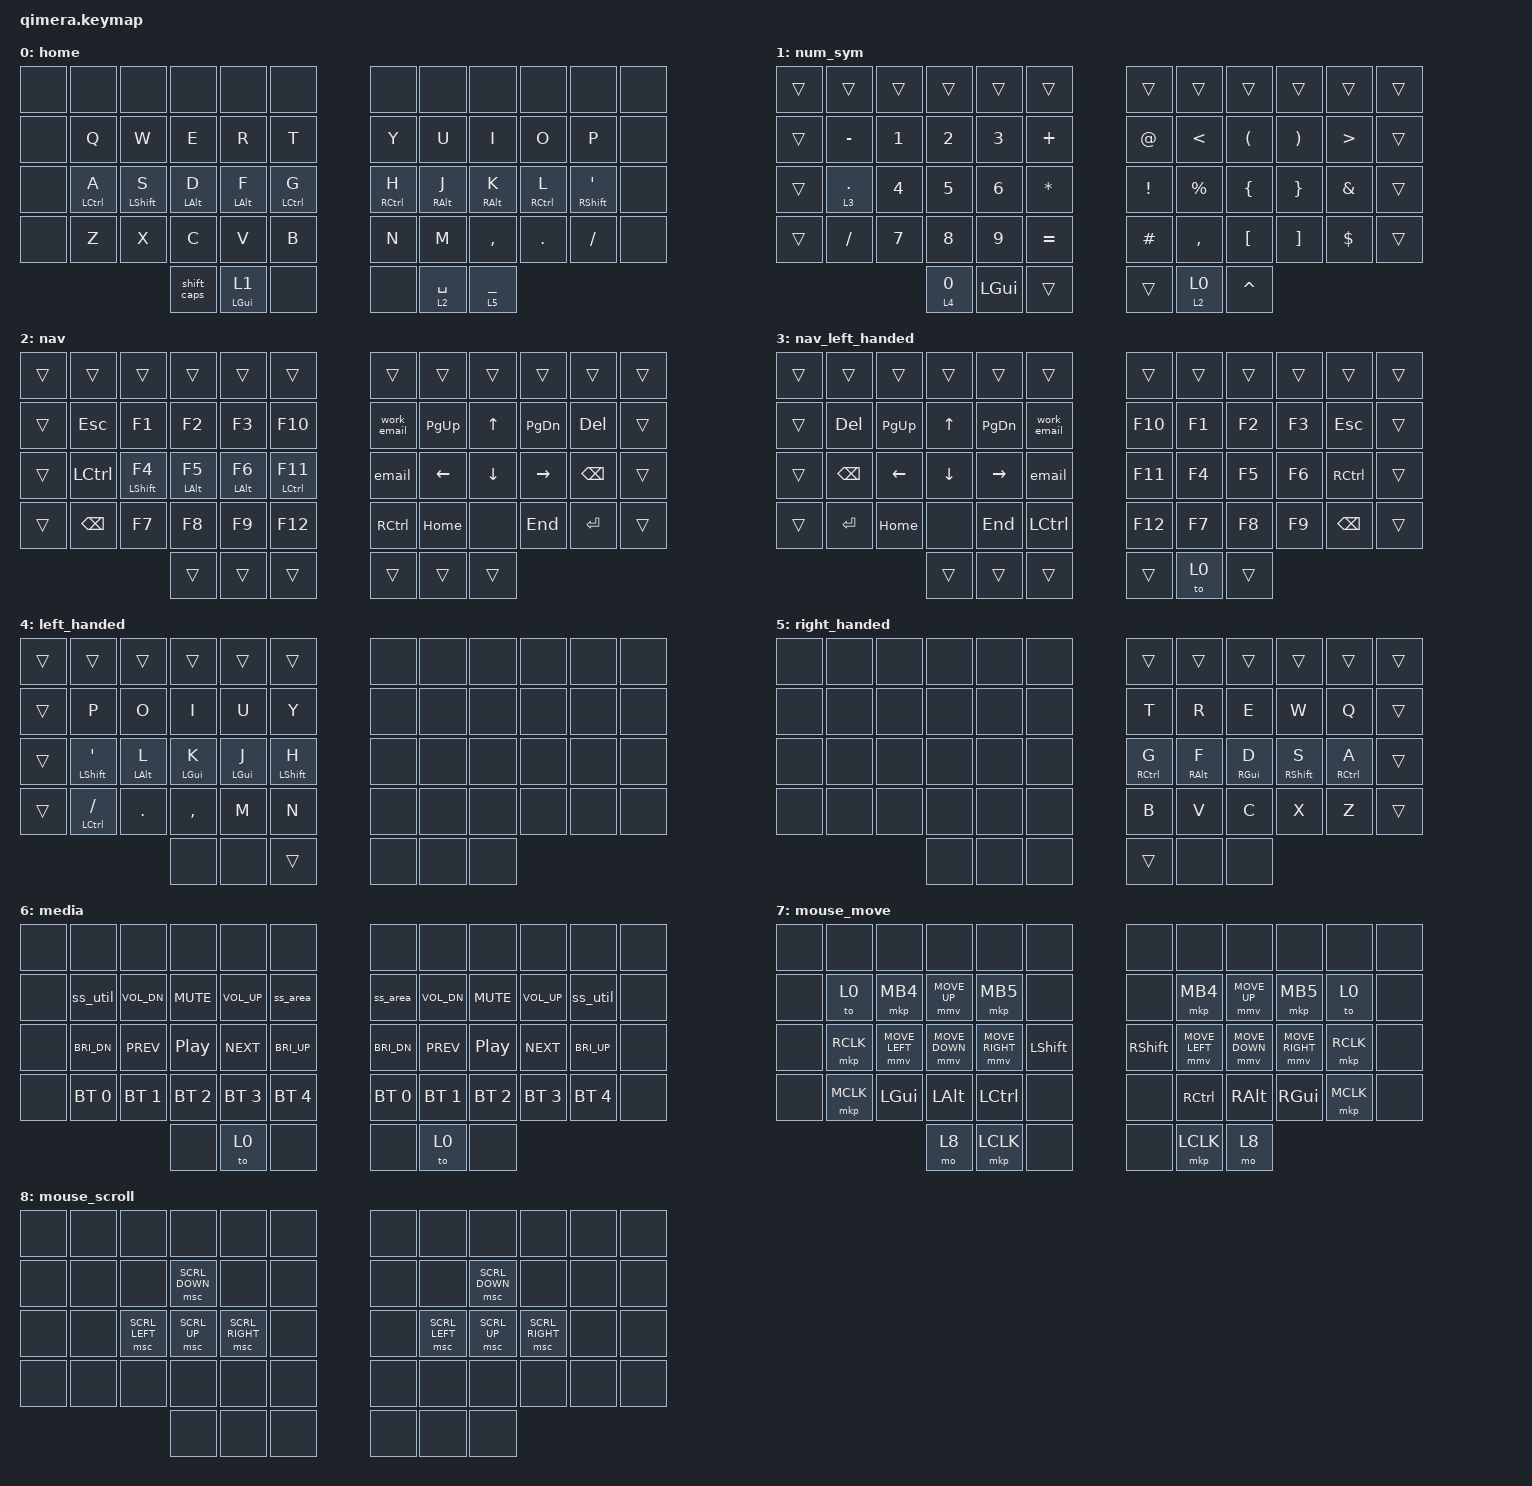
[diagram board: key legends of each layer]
#define ZMK_POINTING_DEFAULT_MOVE_VAL 4000
#define ZMK_POINTING_DEFAULT_SCRL_VAL 20

#include <behaviors.dtsi>
#include <dt-bindings/zmk/bt.h>
#include <dt-bindings/zmk/keys.h>
#include <dt-bindings/zmk/pointing.h>

&mt { flavor = "tap-preferred"; };

/ {
    combos {
        compatible = "zmk,combos";

        lock_screen {
            bindings = <&kp K_POWER>;
            key-positions = <37 22 13 46>;
            timeout-ms = <250>;
            layers = <2>;
        };

        minus {
            bindings = <&kp MINUS>;
            key-positions = <27 28>;
            layers = <0>;
        };

        semi {
            bindings = <&kp SEMI>;
            key-positions = <44 45>;
            layers = <0>;
        };

        semi_left_handed {
            bindings = <&kp SEMI>;
            key-positions = <38 39>;
            layers = <4>;
        };

        grave {
            bindings = <&kp GRAVE>;
            key-positions = <34 31>;
            layers = <0>;
        };

        grave_left_handed {
            bindings = <&kp GRAVE>;
            key-positions = <25 28>;
            layers = <4>;
        };

        bslash {
            bindings = <&kp BSLH>;
            key-positions = <43 46>;
            layers = <0>;
        };

        bslash_left_handed {
            bindings = <&kp BSLH>;
            key-positions = <37 40>;
            layers = <4>;
        };

        del_left_handed {
            bindings = <&kp DEL>;
            key-positions = <14 13>;
            layers = <4>;
        };

        to_zero_left {
            bindings = <&to 0>;
            key-positions = <13 16>;
            layers = <1 6 3>;
        };

        media_layer_right {
            bindings = <&to 6>;
            key-positions = <52 22>;
            layers = <0>;
        };

        bt_clr_combo {
            bindings = <&bt BT_CLR>;
            key-positions = <48 53>;
            layers = <6>;
        };

        minus_right_handed {
            bindings = <&kp MINUS>;
            key-positions = <31 32>;
            layers = <5>;
        };

        esc_right_handed {
            bindings = <&kp ESC>;
            key-positions = <22 21>;
            layers = <5>;
        };

        bspc_left_handed {
            bindings = <&kp BSPC>;
            key-positions = <38 37>;
            layers = <0 1>;
        };

        media_layer_left {
            bindings = <&to 6>;
            key-positions = <49 13>;
            timeout-ms = <150>;
            layers = <0>;
        };

        tab {
            bindings = <&kp TAB>;
            key-positions = <25 26>;
            layers = <0 1>;
        };

        enter {
            bindings = <&kp ENTER>;
            key-positions = <45 46>;
            layers = <0 1>;
        };

        bspc {
            bindings = <&kp BSPC>;
            key-positions = <33 34>;
            layers = <0 1>;
        };

        esc {
            bindings = <&kp ESC>;
            key-positions = <13 14>;
            layers = <0 1>;
        };

        del {
            bindings = <&kp DEL>;
            key-positions = <21 22>;
            layers = <0 1>;
        };

        spc_left_handed {
            bindings = <&kp SPACE>;
            key-positions = <26 25>;
            layers = <0 4 1>;
        };

        to_zero_right {
            bindings = <&to 0>;
            key-positions = <19 22>;
            layers = <1 6 3>;
        };

        enter_left_handed {
            bindings = <&kp ENTER>;
            key-positions = <37 38>;
            layers = <4>;
        };

        tab_right_handed {
            bindings = <&kp TAB>;
            key-positions = <33 34>;
            layers = <5>;
        };

        mouse_enable_right {
            bindings = <&to 7>;
            key-positions = <52 46>;
            layers = <0>;
        };

        mouse_enable_left {
            bindings = <&to 7>;
            key-positions = <49 37>;
            layers = <0>;
        };
    };

    macros {
        email: email {
            compatible = "zmk,behavior-macro";
            #binding-cells = <0>;
            bindings = <&none &kp A &kp B &kp E &kp E &kp R &kp DOT &kp V &kp A &kp I &kp S &kp H &kp N &kp A &kp V &kp N1 &kp N3 &kp AT &kp G &kp M &kp A &kp I &kp L &kp DOT &kp C &kp O &kp M>;
            label = "EMAIL";
        };

        work_email: work_email {
            compatible = "zmk,behavior-macro";
            #binding-cells = <0>;
            bindings = <&none &kp A &kp B &kp E &kp E &kp R &kp V &kp AT &kp G &kp O &kp O &kp G &kp L &kp E &kp DOT &kp C &kp O &kp M>;
            label = "WORK_EMAIL";
        };

        ss_area: ss_area {
            compatible = "zmk,behavior-macro";
            #binding-cells = <0>;
            bindings =
                <&macro_press>,
                <&kp LGUI &kp LSHIFT &kp NUMBER_4>,
                <&macro_release>,
                <&kp LGUI &kp LSHFT &kp N4>;

            label = "SS_AREA";
        };

        ss_util: ss_util {
            compatible = "zmk,behavior-macro";
            #binding-cells = <0>;
            bindings =
                <&macro_press>,
                <&kp LGUI &kp LSHIFT &kp N5>,
                <&macro_release>,
                <&kp LGUI &kp LSHFT &kp N5>;

            label = "SS_UTIL";
        };

        l0_spc: layer0_space {
            compatible = "zmk,behavior-macro";
            #binding-cells = <0>;
            bindings = <&to 0 &kp SPACE>;
            label = "LAYER0_SPACE";
        };
    };

    behaviors {
        shift_caps: shift_caps {
            compatible = "zmk,behavior-tap-dance";
            label = "SHIFT_CAPS";
            #binding-cells = <0>;
            bindings = <&kp LSHIFT>, <&caps_word>;

            tapping-term-ms = <200>;
        };

        kp_layer: kp_layer {
            compatible = "zmk,behavior-hold-tap";
            label = "KP_LAYER";
            bindings = <&kp>, <&to>;

            #binding-cells = <2>;
            tapping-term-ms = <200>;
            flavor = "hold-preferred";
        };

        mo_to: mo_to {
            compatible = "zmk,behavior-hold-tap";
            label = "MO_TO";
            #binding-cells = <2>;
            tapping-term-ms = <200>;
            flavor = "tap-preferred";
            bindings = <&mo>, <&to>;
        };
    };

    keymap {
        compatible = "zmk,keymap";

        home {
            bindings = <
&none  &none        &none        &none       &none        &none                           &none        &none        &none       &none        &none            &none
&none  &kp Q        &kp W        &kp E       &kp R        &kp T                           &kp Y        &kp U        &kp I       &kp O        &kp P            &none
&none  &mt LCTRL A  &mt LSHFT S  &mt LALT D  &mt LALT F   &mt LCTRL G                     &mt RCTRL H  &mt RALT J   &mt RALT K  &mt RCTRL L  &mt RSHIFT APOS  &none
&none  &kp Z        &kp X        &kp C       &kp V        &kp B                           &kp N        &kp M        &kp COMMA   &kp DOT      &kp FSLH         &none
                                             &shift_caps  &kp_layer LGUI 1  &none  &none  &lt 2 SPACE  &lt 5 UNDER
            >;
        };

        num_sym {
            bindings = <
&trans  &trans        &trans  &trans  &trans    &trans                     &trans      &trans       &trans    &trans    &trans      &trans
&trans  &kp MINUS     &kp N1  &kp N2  &kp N3    &kp PLUS                   &kp AT      &kp LT       &kp LPAR  &kp RPAR  &kp GT      &trans
&trans  &lt 3 PERIOD  &kp N4  &kp N5  &kp N6    &kp ASTRK                  &kp EXCL    &kp PERCENT  &kp LBRC  &kp RBRC  &kp AMPS    &trans
&trans  &kp FSLH      &kp N7  &kp N8  &kp N9    &kp EQUAL                  &kp HASH    &kp COMMA    &kp LBKT  &kp RBKT  &kp DOLLAR  &trans
                                      &lt 4 N0  &kp LGUI   &trans  &trans  &mo_to 2 0  &kp CARET
            >;
        };

        nav {
            bindings = <
&trans  &trans     &trans        &trans       &trans       &trans                         &trans       &trans          &trans          &trans           &trans     &trans
&trans  &kp ESC    &kp F1        &kp F2       &kp F3       &kp F10                        &work_email  &kp PG_UP       &kp UP_ARROW    &kp PG_DN        &kp DEL    &trans
&trans  &kp LCTRL  &mt LSHFT F4  &mt LALT F5  &mt LALT F6  &mt LCTRL F11                  &email       &kp LEFT_ARROW  &kp DOWN_ARROW  &kp RIGHT_ARROW  &kp BSPC   &trans
&trans  &kp BSPC   &kp F7        &kp F8       &kp F9       &kp F12                        &kp RCTRL    &kp HOME        &none           &kp END          &kp ENTER  &trans
                                              &trans       &trans         &trans  &trans  &trans       &trans
            >;
        };

        nav_left_handed {
            bindings = <
&trans  &trans     &trans          &trans          &trans     &trans                       &trans   &trans  &trans  &trans  &trans     &trans
&trans  &kp DEL    &kp PG_UP       &kp UP_ARROW    &kp PG_DN  &work_email                  &kp F10  &kp F1  &kp F2  &kp F3  &kp ESC    &trans
&trans  &kp BSPC   &kp LEFT_ARROW  &kp DOWN_ARROW  &kp RIGHT  &email                       &kp F11  &kp F4  &kp F5  &kp F6  &kp RCTRL  &trans
&trans  &kp ENTER  &kp HOME        &none           &kp END    &kp LCTRL                    &kp F12  &kp F7  &kp F8  &kp F9  &kp BSPC   &trans
                                                   &trans     &trans       &trans  &trans  &to 0    &trans
            >;
        };

        left_handed {
            bindings = <
&trans  &trans           &trans      &trans      &trans      &trans                       &none  &none  &none  &none  &none  &none
&trans  &kp P            &kp O       &kp I       &kp U       &kp Y                        &none  &none  &none  &none  &none  &none
&trans  &mt LSHIFT APOS  &mt LALT L  &mt LGUI K  &mt LGUI J  &mt LSHIFT H                 &none  &none  &none  &none  &none  &none
&trans  &mt LCTRL FSLH   &kp DOT     &kp COMMA   &kp M       &kp N                        &none  &none  &none  &none  &none  &none
                                                 &none       &none         &trans  &none  &none  &none
            >;
        };

        right_handed {
            bindings = <
&none  &none  &none  &none  &none  &none                 &trans       &trans      &trans      &trans        &trans       &trans
&none  &none  &none  &none  &none  &none                 &kp T        &kp R       &kp E       &kp W         &kp Q        &trans
&none  &none  &none  &none  &none  &none                 &mt RCTRL G  &mt RALT F  &mt RGUI D  &mt RSHIFT S  &mt RCTRL A  &trans
&none  &none  &none  &none  &none  &none                 &kp B        &kp V       &kp C       &kp X         &kp Z        &trans
                            &none  &none  &none  &trans  &none        &none
            >;
        };

        media {
            bindings = <
&none  &none         &none         &none         &none         &none                       &none         &none         &none         &none         &none         &none
&none  &ss_util      &kp C_VOL_DN  &kp C_MUTE    &kp C_VOL_UP  &ss_area                    &ss_area      &kp C_VOL_DN  &kp C_MUTE    &kp C_VOL_UP  &ss_util      &none
&none  &kp C_BRI_DN  &kp C_PREV    &kp C_PP      &kp C_NEXT    &kp C_BRI_UP                &kp C_BRI_DN  &kp C_PREV    &kp C_PP      &kp C_NEXT    &kp C_BRI_UP  &none
&none  &bt BT_SEL 0  &bt BT_SEL 1  &bt BT_SEL 2  &bt BT_SEL 3  &bt BT_SEL 4                &bt BT_SEL 0  &bt BT_SEL 1  &bt BT_SEL 2  &bt BT_SEL 3  &bt BT_SEL 4  &none
                                                 &none         &to 0         &none  &none  &to 0         &none
            >;
        };

        mouse_move {
            bindings = <
&none  &none      &none           &none           &none            &none                     &none       &none           &none           &none            &none      &none
&none  &to 0      &mkp MB4        &mmv MOVE_UP    &mkp MB5         &none                     &none       &mkp MB4        &mmv MOVE_UP    &mkp MB5         &to 0      &none
&none  &mkp RCLK  &mmv MOVE_LEFT  &mmv MOVE_DOWN  &mmv MOVE_RIGHT  &kp LSHIFT                &kp RSHIFT  &mmv MOVE_LEFT  &mmv MOVE_DOWN  &mmv MOVE_RIGHT  &mkp RCLK  &none
&none  &mkp MCLK  &kp LGUI        &kp LALT        &kp LCTRL        &none                     &none       &kp RCTRL       &kp RALT        &kp RGUI         &mkp MCLK  &none
                                                  &mo 8            &mkp LCLK   &none  &none  &mkp LCLK   &mo 8
            >;
        };

        mouse_scroll {
            bindings = <
&none  &none  &none           &none           &none            &none                &none  &none           &none           &none            &none  &none
&none  &none  &none           &msc SCRL_DOWN  &none            &none                &none  &none           &msc SCRL_DOWN  &none            &none  &none
&none  &none  &msc SCRL_LEFT  &msc SCRL_UP    &msc SCRL_RIGHT  &none                &none  &msc SCRL_LEFT  &msc SCRL_UP    &msc SCRL_RIGHT  &none  &none
&none  &none  &none           &none           &none            &none                &none  &none           &none           &none            &none  &none
                                              &none            &none  &none  &none  &none  &none
            >;
        };
    };
};
